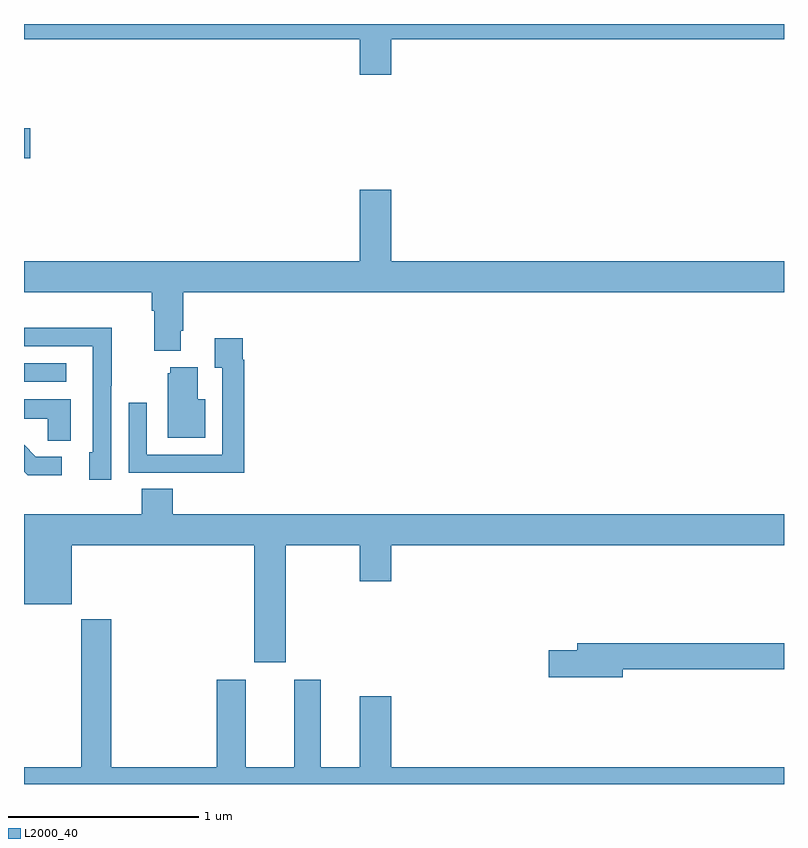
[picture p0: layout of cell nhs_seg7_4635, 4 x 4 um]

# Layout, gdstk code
import gdstk
lib = gdstk.Library(unit=1e-6, precision=1e-09)
def R(c, l, rs):  # rectangles x0, y0, x1, y1
    for r in rs: c.add(gdstk.rectangle(r[:2], r[2:], *l))
def P(c, l, *ps):  # polygons
    for p in ps: c.add(gdstk.Polygon(p, *l))
L2000_40 = (2000, 40)

nhs_seg7_4635 = lib.new_cell('nhs_seg7_4635')
R(nhs_seg7_4635, L2000_40, [(403,1028.118,403.222,1028.214), (403,1029.293,403.033,1029.451)])
P(nhs_seg7_4635, L2000_40, [(403,1029.92),(404.768,1029.92),(404.768,1029.732),(404.932,1029.732),(404.932,1029.92),(407,1029.92),(407,1030),(403,1030)],
  [(403.825,1028.386),(403.838,1028.386),(403.838,1028.588),(407,1028.588),(407,1028.752),(404.932,1028.752),(404.932,1029.127),(404.768,1029.127),(404.768,1028.752),(403,1028.752),(403,1028.588),(403.673,1028.588),(403.673,1028.492),(403.685,1028.492),(403.685,1028.279),(403.825,1028.279)],
  [(403.458,1028.095),(403.461,1028.095),(403.461,1028.402),(403,1028.402),(403,1028.304),(403.362,1028.304),(403.362,1027.746),(403.343,1027.746),(403.343,1027.602),(403.458,1027.602)],
  [(404.159,1028.234),(404.152,1028.234),(404.152,1028.347),(404.003,1028.347),(404.003,1028.191),(404.043,1028.191),(404.043,1027.734),(403.647,1027.734),(403.647,1028.007),(403.551,1028.007),(403.551,1027.638),(403.867,1027.638),(403.867,1027.637),(404.159,1027.637)],
  [(403.954,1028.026),(403.915,1028.026),(403.915,1028.194),(403.769,1028.194),(403.769,1028.163),(403.757,1028.163),(403.757,1027.823),(403.954,1027.823)],
  [(403.246,1028.026),(403,1028.026),(403,1027.922),(403.125,1027.922),(403.125,1027.807),(403.246,1027.807)],
  [(403.198,1027.722),(403.063,1027.722),(403,1027.785),(403,1027.644),(403.019,1027.625),(403.198,1027.625)],
  [(403,1026.947),(403.252,1026.947),(403.252,1027.256),(404.213,1027.256),(404.213,1026.642),(404.377,1026.642),(404.377,1027.256),(404.768,1027.256),(404.768,1027.068),(404.932,1027.068),(404.932,1027.256),(407,1027.256),(407,1027.42),(403.784,1027.42),(403.784,1027.553),(403.619,1027.553),(403.619,1027.42),(403,1027.42)],
  [(407,1026.088),(404.932,1026.088),(404.932,1026.463),(404.768,1026.463),(404.768,1026.088),(404.563,1026.088),(404.563,1026.55),(404.423,1026.55),(404.423,1026.088),(404.167,1026.088),(404.167,1026.55),(404.015,1026.55),(404.015,1026.088),(403.46,1026.088),(403.46,1026.868),(403.3,1026.868),(403.3,1026.088),(403,1026.088),(403,1026),(407,1026)],
  [(406.15,1026.604),(407,1026.604),(407,1026.74),(405.911,1026.74),(405.911,1026.704),(405.762,1026.704),(405.762,1026.562),(406.15,1026.562)])

lib.write_gds('nhs_seg7_4635.gds')
